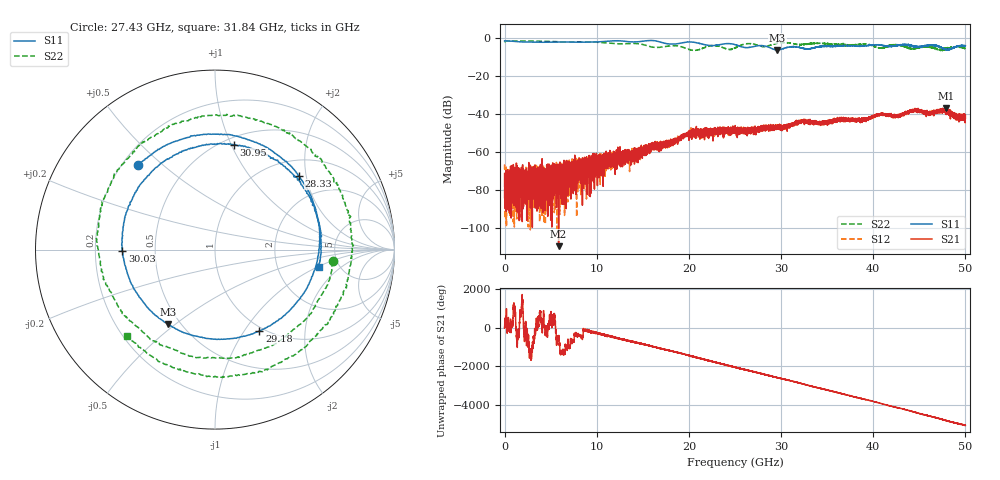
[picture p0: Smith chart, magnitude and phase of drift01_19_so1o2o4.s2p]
!Created with skrf (http://scikit-rf.org).
# Hz S RI R 50.0
!freq ReS11 ImS11 ReS21 ImS21 ReS12 ImS12 ReS22 ImS22
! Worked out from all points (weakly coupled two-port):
!   10001 points, 300 kHz to 50 GHz, reference 50 ohm
!   highest |S21| = -36.71 dB at 47.88 GHz (marker M1); lowest = -109.8 dB at 5.86 GHz (marker M2)
!   lowest |S11| = -6.2 dB at 29.61 GHz (marker M3), VSWR 2.92, Z = 21.6 - j23.6 ohm
!   |S11| at or under -10 dB: nowhere
!   |S22| runs from -6.5 to -1.4 dB; largest |S21 - S12| = 0.005
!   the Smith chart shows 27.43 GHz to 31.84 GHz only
!   S11 on the Smith chart (normalised r, x): 27.43 GHz: 0.26, +0.41; 28.33 GHz: 1.36, +1.82; 29.18 GHz: 0.95, -1.17; 30.03 GHz: 0.32, -0.01; 30.95 GHz: 0.57, +1.02; 31.84 GHz: 3.49, -1.04
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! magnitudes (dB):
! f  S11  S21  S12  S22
! 300 kHz  -1.3  -71.7  -66.6  -2.1
! 255.3 MHz  -1.4  -75.6  -77.7  -1.4
! 685.3 MHz  -1.5  -75.2  -81.8  -1.5
! 4.265 GHz  -2.1  -81.5  -97.5  -1.5
! 5.86 GHz  -2.0  -109.8  -73.6  -1.8
! 8.335 GHz  -2.0  -64.7  -64.0  -1.8
! 16.67 GHz  -1.6  -57.3  -56.5  -4.8
! 20.21 GHz  -1.9  -52.4  -50.2  -6.1
! 22.6 GHz  -3.9  -48.9  -49.4  -3.8
! 25 GHz  -3.3  -49.8  -48.1  -5.1
! 27.43 GHz  -3.9  -48.6  -48.3  -3.6
! 28.33 GHz  -4.1  -47.8  -46.9  -4.3
! 29.18 GHz  -5.7  -46.6  -47.6  -3.1
! 29.61 GHz  -6.2  -46.8  -47.4  -2.5
! 30.03 GHz  -5.7  -47.6  -47.4  -2.3
! 30.95 GHz  -4.5  -46.1  -45.7  -2.5
! 31.84 GHz  -4.6  -45.1  -44.4  -3.3
! 33.34 GHz  -5.2  -44.6  -44.5  -2.6
! 41.67 GHz  -4.2  -40.2  -40.8  -4.3
! 46.47 GHz  -3.6  -38.8  -39.3  -4.7
! 47.88 GHz  -5.7  -36.7  -39.3  -5.8
! 50 GHz  -3.9  -40.7  -41.5  -5.4
